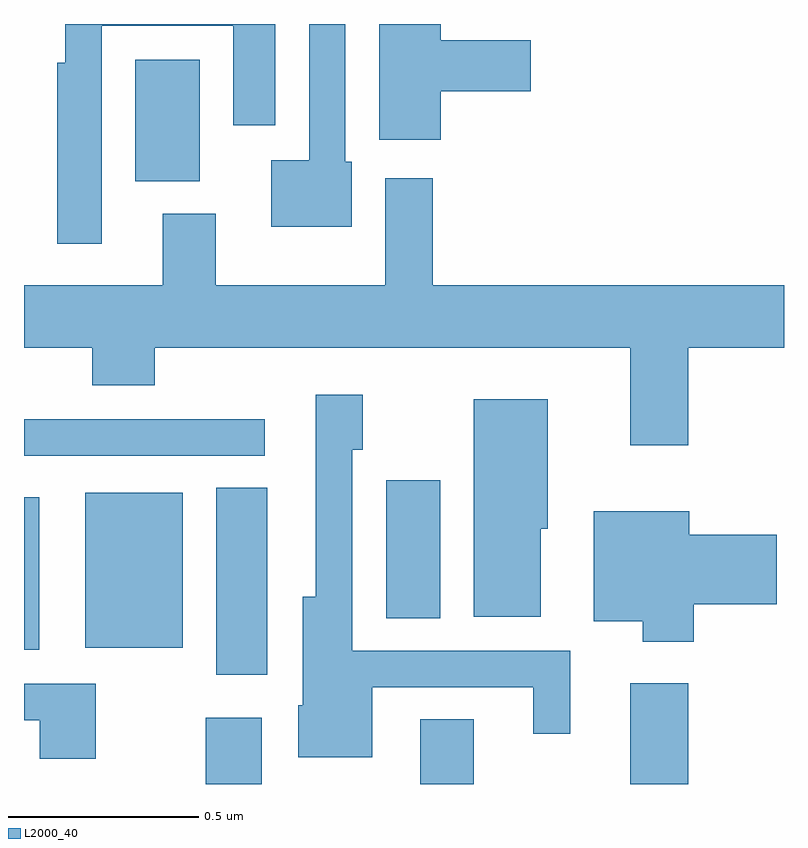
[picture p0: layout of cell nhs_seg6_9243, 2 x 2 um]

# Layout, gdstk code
import gdstk
lib = gdstk.Library(unit=1e-6, precision=1e-09)
def R(c, l, rs):  # rectangles x0, y0, x1, y1
    for r in rs: c.add(gdstk.rectangle(r[:2], r[2:], *l))
def P(c, l, *ps):  # polygons
    for p in ps: c.add(gdstk.Polygon(p, *l))
L2000_40 = (2000, 40)

nhs_seg6_9243 = lib.new_cell('nhs_seg6_9243')
R(nhs_seg6_9243, L2000_40, [(231.478,967.5,231.625,967.675), (232.043,967.5,232.183,967.67), (232.595,967.5,232.748,967.765), (231.506,967.788,231.64,968.279), (231,967.853,231.04,968.254), (231.161,967.859,231.418,968.266), (231.953,967.936,232.096,968.299), (231,968.364,231.634,968.46), (231.293,969.086,231.463,969.406)])
P(nhs_seg6_9243, L2000_40, [(232.097,969.323),(232.333,969.323),(232.333,969.457),(232.097,969.457),(232.097,969.5),(231.935,969.5),(231.935,969.195),(232.097,969.195)],
  [(231.862,969.138),(231.846,969.138),(231.846,969.5),(231.75,969.5),(231.75,969.142),(231.65,969.142),(231.65,968.966),(231.862,968.966)],
  [(231.204,969.495),(231.551,969.495),(231.551,969.234),(231.661,969.234),(231.661,969.5),(231.108,969.5),(231.108,969.398),(231.088,969.398),(231.088,968.922),(231.204,968.922)],
  [(232.748,968.648),(233,968.648),(233,968.812),(232.076,968.812),(232.076,969.094),(231.95,969.094),(231.95,968.812),(231.505,968.812),(231.505,969.001),(231.365,969.001),(231.365,968.812),(231,968.812),(231,968.648),(231.179,968.648),(231.179,968.549),(231.344,968.549),(231.344,968.648),(232.595,968.648),(232.595,968.391),(232.748,968.391)],
  [(231.916,967.755),(232.34,967.755),(232.34,967.632),(232.438,967.632),(232.438,967.851),(231.864,967.851),(231.864,968.379),(231.891,968.379),(231.891,968.524),(231.768,968.524),(231.768,967.993),(231.734,967.993),(231.734,967.707),(231.722,967.707),(231.722,967.571),(231.916,967.571)],
  [(232.36,968.172),(232.378,968.172),(232.378,968.512),(232.184,968.512),(232.184,967.94),(232.36,967.94)],
  [(232.763,967.973),(232.981,967.973),(232.981,968.156),(232.75,968.156),(232.75,968.218),(232.499,968.218),(232.499,967.928),(232.628,967.928),(232.628,967.874),(232.763,967.874)],
  [(231.189,967.764),(231,967.764),(231,967.668),(231.041,967.668),(231.041,967.566),(231.189,967.566)])

lib.write_gds('nhs_seg6_9243.gds')
